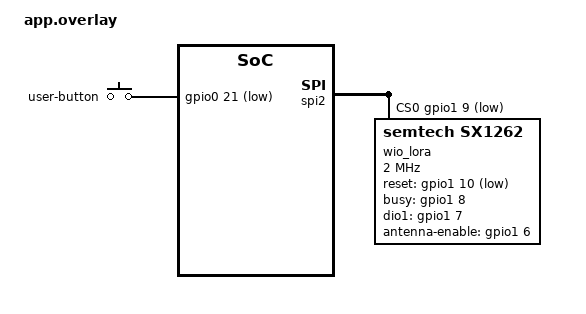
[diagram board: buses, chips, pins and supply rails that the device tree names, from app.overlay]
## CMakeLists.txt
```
cmake_minimum_required(VERSION 3.20.0)
find_package(Zephyr REQUIRED HINTS $ENV{ZEPHYR_BASE})
project(buddyguard)
if(CONFIG_BUDDYGUARD_APP_BLE)
  target_sources(app PRIVATE src/ble/app_ble.c)
endif()
if(CONFIG_BUDDYGUARD_WIFI)
  target_sources(app PRIVATE src/fleet/wifi_fleet.c)
endif()
if(CONFIG_BUDDYGUARD_FLEET)
  zephyr_include_directories(config)
  target_sources(app PRIVATE src/fleet/fleet.c)
endif()
if(CONFIG_BUDDYGUARD_GNSS)
  target_sources(app PRIVATE src/drivers/l76k.c)
endif()
target_sources(app PRIVATE
  src/main.c
  src/actuators/haptics.c
  src/ble/presence.c
  src/console/commands.c
  src/input/user_button.c
  src/update/health.c
  src/protocol/wire.c
  src/sensors/gnss.c
  src/sensors/motion.c
  src/sensors/imu.c
  src/drivers/wio_sx1262.c
  src/radio/link.c
  src/radio/exchange.c
  src/radio/history.c
  src/roster/roster.c
)
target_include_directories(app PRIVATE include)
target_include_directories(app PRIVATE
  ${ZEPHYR_LORAMAC_NODE_MODULE_DIR}/src/radio
  ${ZEPHYR_LORAMAC_NODE_MODULE_DIR}/src/system
  ${ZEPHYR_LORAMAC_NODE_MODULE_DIR}/src/boards
)
```

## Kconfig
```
mainmenu "BuddyGuard"

source "Kconfig.zephyr"

menu "BuddyGuard prototype"

config BUDDYGUARD_WIFI
	bool "Direct Wi-Fi HTTPS telemetry and OTA"
	depends on BUDDYGUARD_FLEET && WIFI
	default n

config BUDDYGUARD_FLEET
	bool "Memfault fleet diagnostics over the USB host gateway"
	depends on MEMFAULT
	default n

config BUDDYGUARD_DEVICE_SERIAL
	string "Unique cloud device serial"
	default "BG-T01"
	depends on BUDDYGUARD_FLEET

config BUDDYGUARD_COUNSELOR
	bool "Build the counselor receiver role"
	default n

config BUDDYGUARD_APP_BLE
	bool "Counselor phone service"
	depends on BUDDYGUARD_COUNSELOR
	default y
	select BT_SMP
	select SETTINGS
	select NVS
	select BT_SETTINGS
	select BT_GATT_SERVICE_CHANGED
	select BT_GATT_DYNAMIC_DB
	select MCUMGR_TRANSPORT_BT_DYNAMIC_SVC_REGISTRATION

config BUDDYGUARD_IMU
	bool "Optional SparkFun LSM6DSO on the tag I2C bus"
	depends on !BUDDYGUARD_COUNSELOR
	select SENSOR
	select I2C
	help
	  Poll a deferred LSM6DSO at address 0x6b or 0x6a. Missing or stale
	  measurements produce UNKNOWN and do not block the wireless service.

config BUDDYGUARD_GNSS
	bool "Optional L76K on UART0"
	depends on SERIAL && SERIAL_SUPPORT_INTERRUPT
	select UART_INTERRUPT_DRIVEN
	help
	  Receive and validate NMEA at 9600 baud on D7. The USB shell reports
	  reception and the receiver's fix status.

config BUDDYGUARD_TAG_POSITION
	bool "Reply to counselor position requests over the bench LoRa link"
	depends on BUDDYGUARD_GNSS && !BUDDYGUARD_COUNSELOR

config BUDDYGUARD_HAPTICS
	bool "Optional DRV2605L and ERM motor on the tag I2C bus"
	depends on !BUDDYGUARD_COUNSELOR && DT_HAS_TI_DRV2605_ENABLED
	select HAPTICS
	help
	  Use the Zephyr DRV2605 driver for the finite bench vibration effect.

config BUDDYGUARD_IMPACT_THRESHOLD_MG
	int "Impact: single-axis change between consecutive IMU samples (mg)"
	depends on BUDDYGUARD_IMU
	range 300 3900
	default 1000
	help
	  An impact (possible fall or hard knock) queues one LoRa SOS and pulses
	  the impact-gpios marker so a logic analyzer can time it.

config BUDDYGUARD_IMPACT_LOCKOUT_MS
	int "Impact: ignore further impacts for this long after one fires"
	depends on BUDDYGUARD_IMU
	range 500 60000
	default 3000

config BUDDYGUARD_IMPACT_MARKER_MS
	int "Impact: marker pulse width on the zephyr,user impact-gpios pin"
	depends on BUDDYGUARD_IMU
	range 1 1000
	default 50

config BUDDYGUARD_PRESENCE_ADV_INTERVAL_MS
	int "Presence (non-connectable) advertising minimum interval; maximum is 1.5x"
	range 100 6000
	default 100
	help
	  100 keeps the original 100-150 ms interval. The low-power profile raises
	  it; the presence sequence still changes every 2 s.

config BUDDYGUARD_PRESENCE_TIMEOUT_MS
	int "BLE presence timeout for the laboratory demo"
	range 4000 120000
	default 8000

config BUDDYGUARD_TAG_ID
	int "Laboratory tag ID"
	range 1 255
	default 1

config BUDDYGUARD_MAINTENANCE_GRACE_SECONDS
	int "Roster grace for a tag whose last frame announced maintenance"
	range 120 900
	default 600
	help
	  A 244-byte BLE SMP upload takes several minutes while advertisements
	  pause. Keep this separate from the normal missing-tag timeout, and
	  bounded so a stalled update cannot suppress warnings indefinitely.

config BUDDYGUARD_CONFIRM_AFTER_SECONDS
	int "Healthy runtime before confirming a test image"
	range 5 300
	default 15

config BUDDYGUARD_MAINTENANCE_SECONDS
	int "Initial laboratory BLE maintenance window"
	range 0 600
	default 300

config BUDDYGUARD_FAULT_ON_BOOT
	bool "Inject an unconfirmed-image failure after watchdog setup"
	default n
	help
	  Test images only: stop feeding the watchdog before image confirmation.

endmenu
```

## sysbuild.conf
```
SB_CONFIG_BOOTLOADER_MCUBOOT=y
SB_CONFIG_BOOT_SIGNATURE_TYPE_ECDSA_P256=y
SB_CONFIG_MCUBOOT_MODE_SWAP_USING_MOVE=y
# Public-only default deliberately cannot sign releases. scripts/build.py supplies
# the private-key path from outside the repository.
SB_CONFIG_BOOT_SIGNATURE_KEY_FILE="${APP_DIR}/../keys/team2-signing-public.pem"
```

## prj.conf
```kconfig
CONFIG_BOOT_DELAY=4000
CONFIG_BOOTLOADER_MCUBOOT=y
CONFIG_NET_BUF=y
CONFIG_ZCBOR=y
CONFIG_CRC=y
CONFIG_FLASH=y
CONFIG_FLASH_MAP=y
CONFIG_STREAM_FLASH=y
CONFIG_IMG_MANAGER=y
CONFIG_IMG_ERASE_PROGRESSIVELY=y
CONFIG_MCUMGR=y
CONFIG_MCUMGR_GRP_IMG=y
CONFIG_MCUMGR_GRP_OS=y
CONFIG_MCUMGR_GRP_OS_MCUMGR_PARAMS=y
CONFIG_MCUMGR_TRANSPORT_BT=y
CONFIG_MCUMGR_TRANSPORT_BT_REASSEMBLY=y
CONFIG_MCUMGR_TRANSPORT_NETBUF_SIZE=1024
CONFIG_MCUMGR_TRANSPORT_WORKQUEUE_STACK_SIZE=4096
CONFIG_BT=y
CONFIG_BT_PERIPHERAL=y
CONFIG_SPI=y
CONFIG_INPUT=y
CONFIG_LORA=y
CONFIG_LORA_MODULE_BACKEND_LORAMAC_NODE=y
CONFIG_LORA_LOG_LEVEL_WRN=y
CONFIG_BT_DEVICE_NAME="BG-T01"
CONFIG_BT_MAX_CONN=1
CONFIG_BT_L2CAP_TX_MTU=247
CONFIG_BT_BUF_ACL_RX_SIZE=251
CONFIG_BT_BUF_ACL_TX_SIZE=251
CONFIG_BT_CTLR_DATA_LENGTH_MAX=251
CONFIG_MAIN_STACK_SIZE=4096
CONFIG_SYSTEM_WORKQUEUE_STACK_SIZE=4096
CONFIG_HEAP_MEM_POOL_SIZE=32768
CONFIG_WATCHDOG=y
CONFIG_REBOOT=y
CONFIG_SHELL=y
CONFIG_SHELL_BACKEND_SERIAL=y
CONFIG_SHELL_VT100_COLORS=n
CONFIG_LOG=y
CONFIG_LOG_BUFFER_SIZE=4096
CONFIG_LOG_PROCESS_THREAD_STACK_SIZE=2048
```

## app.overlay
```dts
#include <zephyr/dt-bindings/gpio/gpio.h>
#include <zephyr/dt-bindings/input/input-event-codes.h>
#include <zephyr/dt-bindings/lora/sx126x.h>

/ {
	aliases {
		lora0 = &wio_lora;
	};

	wio_keys: wio-keys {
		compatible = "gpio-keys";
		debounce-interval-ms = <25>;

		user-button {
			gpios = <&gpio0 21 (GPIO_ACTIVE_LOW | GPIO_PULL_UP)>;
			zephyr,code = <INPUT_BTN_0>;
		};
	};

	wio_longpress: wio-longpress {
		compatible = "zephyr,input-longpress";
		input = <&wio_keys>;
		input-codes = <INPUT_BTN_0>;
		long-codes = <INPUT_BTN_1>;
		long-delay-ms = <1000>;
	};
};

/* On the B2B kit the USER switch shares GPIO21 with the XIAO LED. */
&led0 {
	status = "disabled";
};

/* ESP32S3 B2B kit, not the nRF52840 through-hole module pinout.
 * GPIO32..53 are gpio1 pins 0..21.
 */
&spi2 {
	cs-gpios = <&gpio1 9 GPIO_ACTIVE_LOW>; /* GPIO41 NSS */
	wio_lora: sx1262@0 {
		compatible = "semtech,sx1262";
		zephyr,deferred-init;
		reg = <0>;
		spi-max-frequency = <2000000>;
		reset-gpios = <&gpio1 10 GPIO_ACTIVE_LOW>; /* GPIO42 */
		busy-gpios = <&gpio1 8 GPIO_ACTIVE_HIGH>; /* GPIO40 */
		dio1-gpios = <&gpio1 7 GPIO_ACTIVE_HIGH>; /* GPIO39 */
		antenna-enable-gpios = <&gpio1 6 GPIO_ACTIVE_HIGH>; /* GPIO38 */
		dio2-tx-enable;
		dio3-tcxo-voltage = <SX126X_DIO3_TCXO_3V0>;
		tcxo-power-startup-delay-ms = <10>;
		status = "okay";
	};
};
```

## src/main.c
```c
/* SPDX-License-Identifier: Apache-2.0 */
/* Boot orchestration only; each service owns its state and hardware.
 * 只编排启动与主循环；模块各自管理状态，不在入口堆叠业务实现。 */
#include <zephyr/app_version.h>
#include <zephyr/dfu/mcuboot.h>
#include <zephyr/kernel.h>
#include <zephyr/logging/log.h>
#include "app_ble.h"
#include "health.h"
#include "fleet.h"
#include "gnss.h"
#include "wifi_fleet.h"
#include "imu.h"
#include "presence.h"
#include "radio_link.h"
#include "roster.h"
LOG_MODULE_REGISTER(buddyguard, LOG_LEVEL_INF);

int main(void)
{
	LOG_INF("BuddyGuard version=%s role=%s tag=%u confirmed=%u", APP_VERSION_STRING,
		IS_ENABLED(CONFIG_BUDDYGUARD_COUNSELOR) ? "COUNSELOR" : "TAG",
		CONFIG_BUDDYGUARD_TAG_ID, boot_is_img_confirmed());
	int rc = bg_health_watchdog_start();
	if (rc != 0) {
		LOG_ERR("Watchdog unavailable: %d; image will not be confirmed", rc);
		return rc;
	}
	bg_app_init();
	if (bg_health_check_slots() != 0 || bg_radio_init() != 0 || bg_presence_init() != 0 ||
		bg_roster_start() != 0) {
		LOG_ERR("Startup health check failed; waiting for watchdog reset");
		for (;;) {
			k_sleep(K_SECONDS(1));
		}
	}
	if (IS_ENABLED(CONFIG_BUDDYGUARD_FAULT_ON_BOOT) && !boot_is_img_confirmed()) {
		LOG_ERR("FAULT INJECTION: unconfirmed image will stop feeding the watchdog");
		for (;;) {
			k_sleep(K_SECONDS(1));
		}
	}
	bg_imu_start();
	bg_gnss_start();
	bg_health_begin();
	bg_wifi_start();
	for (;;) {
		bg_fleet_poll();
		bg_roster_poll();
		bg_app_poll();
		rc = bg_presence_tick();
		if (rc != 0) {
			bg_health_cycle(false, false);
			LOG_ERR("Advertising error: %d; withholding confirmation and watchdog feed", rc);
			k_sleep(K_SECONDS(1));
			continue;
		}
		struct bg_presence_status s = bg_presence_status();
		bg_health_cycle(true, s.heartbeat);
		LOG_INF("Presence seq=%u advertising=%u connected=%ld maintenance=%u confirmed=%u",
			s.sequence, s.advertising, (long)s.connected, s.maintenance,
			boot_is_img_confirmed());
		k_sleep(K_SECONDS(2));
	}
	return 0;
}
```

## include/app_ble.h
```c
/* SPDX-License-Identifier: Apache-2.0 */
#ifndef BUDDYGUARD_APP_BLE_H
#define BUDDYGUARD_APP_BLE_H

#include <stdint.h>
#include <zephyr/bluetooth/uuid.h>
#include <zephyr/sys/util.h>

#define BG_APP_SERVICE_UUID BT_UUID_128_ENCODE(0x39c2ae25, 0xc509, 0x4902, 0xbad6, 0xfa7d52cbbb86)

enum bg_app_tag_state { BG_APP_NOT_SEEN, BG_APP_ONLINE, BG_APP_MISSING, BG_APP_RECOVERED };
enum bg_app_gather_result { BG_APP_QUEUED, BG_APP_STARTED, BG_APP_NO_ACK, BG_APP_REJECTED };

#if defined(CONFIG_BUDDYGUARD_APP_BLE)
void bg_app_init(void);
void bg_app_poll(void);
void bg_app_tag_event(uint8_t tag, enum bg_app_tag_state state, int64_t heartbeat_ms);
void bg_app_sos(uint8_t tag);
void bg_app_gather_done(uint8_t tag, uint32_t request, enum bg_app_gather_result result);
void bg_app_position(uint8_t tag, int32_t lat_e7, int32_t lon_e7, uint8_t age_s);
#else
static inline void bg_app_init(void) {}
static inline void bg_app_poll(void) {}
static inline void bg_app_tag_event(uint8_t tag, enum bg_app_tag_state state, int64_t heartbeat_ms)
{
	ARG_UNUSED(tag);
	ARG_UNUSED(state);
	ARG_UNUSED(heartbeat_ms);
}
static inline void bg_app_sos(uint8_t tag) { ARG_UNUSED(tag); }
static inline void bg_app_gather_done(uint8_t tag, uint32_t request, enum bg_app_gather_result result)
{
	ARG_UNUSED(tag);
	ARG_UNUSED(request);
	ARG_UNUSED(result);
}
static inline void bg_app_position(uint8_t tag, int32_t lat_e7, int32_t lon_e7, uint8_t age_s)
{
	ARG_UNUSED(tag);
	ARG_UNUSED(lat_e7);
	ARG_UNUSED(lon_e7);
	ARG_UNUSED(age_s);
}
#endif
#endif
```

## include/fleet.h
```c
/* SPDX-License-Identifier: Apache-2.0 */
#pragma once
#if defined(CONFIG_BUDDYGUARD_FLEET)
void bg_fleet_poll(void);
#else
static inline void bg_fleet_poll(void) {}
#endif
```

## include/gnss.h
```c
/* SPDX-License-Identifier: Apache-2.0 */
#ifndef BUDDYGUARD_GNSS_H
#define BUDDYGUARD_GNSS_H

#include <stdbool.h>
#include <stdint.h>

enum bg_gnss_fix {
	BG_GNSS_FIX_UNKNOWN,
	BG_GNSS_NO_FIX,
	BG_GNSS_FIX_REPORTED,
};

struct bg_gnss_status {
	bool enabled;
	enum bg_gnss_fix fix;
	uint32_t bytes;
	uint32_t valid_sentences;
	uint32_t invalid_sentences;
	uint32_t dropped_sentences;
	int64_t sentence_age_ms;
	int error;
};

void bg_gnss_start(void);
struct bg_gnss_status bg_gnss_status(void);
bool bg_gnss_position(int32_t *lat_e7, int32_t *lon_e7, uint8_t *age_s);
const char *bg_gnss_fix_name(enum bg_gnss_fix fix);

#endif
```

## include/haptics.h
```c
/* SPDX-License-Identifier: Apache-2.0 */
#ifndef BUDDYGUARD_HAPTICS_H
#define BUDDYGUARD_HAPTICS_H

/* Trigger one finite ERM effect. The driver finishes playback autonomously. */
int bg_haptics_play(void);

#endif
```

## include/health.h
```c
/* SPDX-License-Identifier: Apache-2.0 */
#ifndef BUDDYGUARD_HEALTH_H
#define BUDDYGUARD_HEALTH_H
#include <stdbool.h>
/* Main-thread boot checks and trial confirmation; call begin after services start.
 * 主线程负责启动检查与试运行确认；服务启动完成后调用 begin 开始计时。 */
int bg_health_watchdog_start(void);
int bg_health_check_slots(void);
void bg_health_begin(void);
/* Failed cycles reset the healthy window and deliberately do not feed WDT. */
void bg_health_cycle(bool healthy, bool allow_confirmation);
#endif
```

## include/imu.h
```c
/* SPDX-License-Identifier: Apache-2.0 */
#ifndef BUDDYGUARD_IMU_H
#define BUDDYGUARD_IMU_H
#include <stdbool.h>
#include <stdint.h>
#include "motion.h"

struct bg_imu_snapshot {
	bool enabled, available;
	uint8_t address, whoami;
	enum bg_motion motion;
	/* x/y/z, mg and mrad/s. / 三轴，分别为 mg 与 mrad/s。 */
	int32_t accel_mg[3], gyro_mrad_s[3];
	uint32_t samples;
	uint32_t impacts;        /* impacts detected since boot / 启动以来冲击次数 */
	int32_t last_impact_mg;  /* largest axis change of the last impact */
	int64_t sampled_ms;
	int last_error;
};
/* Optional service: a missing IMU never blocks main or image confirmation. */
void bg_imu_start(void);
struct bg_imu_snapshot bg_imu_get(void);
/* Missing/stale data returns UNKNOWN. / 缺失或过期时返回 UNKNOWN。 */
enum bg_motion bg_imu_motion(void);
#endif
```

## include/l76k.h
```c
/* SPDX-License-Identifier: Apache-2.0 */
#ifndef BUDDYGUARD_L76K_H
#define BUDDYGUARD_L76K_H

#include <stdint.h>
#include <zephyr/kernel.h>

struct bg_l76k_sentence {
	char text[96];
};

struct bg_l76k_stats {
	uint32_t bytes;
	uint32_t invalid_sentences;
	uint32_t dropped_sentences;
};

/* The driver owns UART0 and delivers checksum-valid NMEA to one consumer. */
int bg_l76k_start(void);
int bg_l76k_receive(struct bg_l76k_sentence *sentence, k_timeout_t timeout);
struct bg_l76k_stats bg_l76k_stats(void);

#endif
```

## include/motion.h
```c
/* SPDX-License-Identifier: Apache-2.0 */
#ifndef BUDDYGUARD_MOTION_H
#define BUDDYGUARD_MOTION_H
#include <stdbool.h>
#include <stdint.h>

enum bg_motion { BG_MOTION_UNKNOWN = 0, BG_MOTION_STILL = 1, BG_MOTION_MOVING = 2 };
struct bg_motion_filter {
	bool initialized, activity_seen;
	uint32_t started_ms, last_sample_ms, last_activity_ms;
	int32_t previous_accel_mg[3];
};
void bg_motion_reset(struct bg_motion_filter *filter);
/* Caller owns filter and feeds samples in time order; no bus access or allocation.
 * 调用者持有 filter、按时间顺序输入样本；本接口不访问总线、不分配内存。 */
enum bg_motion bg_motion_update(struct bg_motion_filter *filter, uint32_t now_ms,
			       const int32_t accel_mg[3], const int32_t gyro_mrad_s[3]);
const char *bg_motion_name(uint8_t motion);

/* Impact (impulse) detector: fires when any single axis changes by at least
 * threshold_mg between two consecutive samples, then ignores impacts for
 * lockout_ms. Pure logic like the motion filter: no bus access, caller owns state.
 * 冲击检测：任一轴相邻两次采样的变化 >= 阈值即触发，之后锁定 lockout_ms。 */
struct bg_impact_detector {
	bool initialized, fired;
	uint32_t last_sample_ms, last_impact_ms;
	int32_t previous_accel_mg[3];
};
struct bg_impact {
	bool detected;
	bool hardware;     /* true: the IMU's own wake-up detector saw it */
	uint8_t axis;      /* 0 = x, 1 = y, 2 = z */
	int32_t delta_mg;  /* largest absolute single-axis change between polled samples */
};
/* hw_axes: axes flagged by the IMU's latched wake-up detector since the last poll
 * (bit0 = x, bit1 = y, bit2 = z; 0 = none). It runs on every 417 Hz sample, so it
 * catches ~1 ms knocks that 25 Hz polling misses. Either source fires the impact;
 * both share the lockout. */
void bg_impact_reset(struct bg_impact_detector *detector);
struct bg_impact bg_impact_update(struct bg_impact_detector *detector, uint32_t now_ms,
				  const int32_t accel_mg[3], int32_t threshold_mg,
				  uint32_t lockout_ms, uint8_t hw_axes);
#endif
```

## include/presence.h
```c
/* SPDX-License-Identifier: Apache-2.0 */
#ifndef BUDDYGUARD_PRESENCE_H
#define BUDDYGUARD_PRESENCE_H
#include <stdbool.h>
#include <stdint.h>
/* BLE service. Init/tick/status are main/shell context; callbacks stay internal.
 * BLE 服务：启动、周期更新与状态查询供主循环／命令层使用，回调留在模块内。 */
struct bg_presence_status {
	uint16_t sequence;
	bool advertising, connected, maintenance, heartbeat;
};
int bg_presence_init(void);
int bg_presence_tick(void);
/* Admission deadline, not forced disconnection. / 设置接入期限，不强制断开已有连接。 */
void bg_presence_maintenance(unsigned seconds);
void bg_presence_heartbeat(bool enabled);
struct bg_presence_status bg_presence_status(void);
#endif
```

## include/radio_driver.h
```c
/* SPDX-License-Identifier: Apache-2.0 */
#ifndef BUDDYGUARD_RADIO_DRIVER_H
#define BUDDYGUARD_RADIO_DRIVER_H
#include <stdint.h>
#include <zephyr/kernel.h>
/* Init only after arming WDT. Send/receive are serialized by the radio worker.
 * 看门狗就绪后初始化；收发为阻塞调用，运行期只供唯一 radio worker 使用。 */
int bg_radio_driver_init(void);
int bg_radio_driver_send(uint8_t *frame);
int bg_radio_driver_send_position(uint8_t *frame);
int bg_radio_driver_receive(uint8_t *frame, k_timeout_t timeout,
							int16_t *rssi, int8_t *snr);
#endif
```

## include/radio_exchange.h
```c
/* SPDX-License-Identifier: Apache-2.0 */
#ifndef BUDDYGUARD_RADIO_EXCHANGE_H
#define BUDDYGUARD_RADIO_EXCHANGE_H
#include "wire.h"

enum bg_radio_exchange_action {
	BG_EXCHANGE_WAIT, BG_EXCHANGE_SEND, BG_EXCHANGE_EXHAUSTED,
};
/* Pure retry state: no hardware, logging, sleeping or Zephyr dependencies.
 * One in-flight transaction; callers continue dispatching RX while it waits.
 * All durations must be below INT32_MAX ms for wrap-safe comparisons.
 * 调用者持有状态并执行收发；时间间隔须小于 INT32_MAX 毫秒以支持计时回绕。 */
struct bg_radio_exchange {
	uint8_t frame[BG_RADIO_FRAME_SIZE];
	uint32_t deadline_ms, timeout_ms, backoff_ms;
	uint8_t attempts;
	bool active, awaiting;
};
void bg_radio_exchange_start(struct bg_radio_exchange *exchange,
	const uint8_t frame[BG_RADIO_FRAME_SIZE], uint32_t now_ms,
	uint32_t timeout_ms, uint32_t backoff_ms);
enum bg_radio_exchange_action bg_radio_exchange_next(
	struct bg_radio_exchange *exchange, uint32_t now_ms);
/* Call after each send attempt, including a driver failure; retries are bounded. */
void bg_radio_exchange_sent(struct bg_radio_exchange *exchange, uint32_t now_ms);
bool bg_radio_exchange_accept(struct bg_radio_exchange *exchange,
	const uint8_t *frame, size_t size);
bool bg_radio_exchange_accept_position(struct bg_radio_exchange *exchange,
	const struct bg_position_frame *position);
#endif
```

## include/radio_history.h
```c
/* SPDX-License-Identifier: Apache-2.0 */
#ifndef BUDDYGUARD_RADIO_HISTORY_H
#define BUDDYGUARD_RADIO_HISTORY_H
#include "wire.h"
enum { BG_RADIO_HISTORY_SIZE = 16 };
struct bg_radio_history {
	struct { uint16_t sequence; uint8_t type, tag; bool valid; } entries[BG_RADIO_HISTORY_SIZE];
	uint8_t next;
};
/* Validated business frames only. True means already reported; ACK it again.
 * Bounded recent history is duplicate suppression, NOT replay protection.
 * 只输入已校验的业务帧；重复消息仍需 ACK，此缓存不是安全防重放。 */
bool bg_radio_history_seen(struct bg_radio_history *history,
	const uint8_t frame[BG_RADIO_FRAME_SIZE]);
bool bg_radio_history_contains(const struct bg_radio_history *history,
	const uint8_t frame[BG_RADIO_FRAME_SIZE]);
void bg_radio_history_record(struct bg_radio_history *history,
	const uint8_t frame[BG_RADIO_FRAME_SIZE]);
#endif
```
